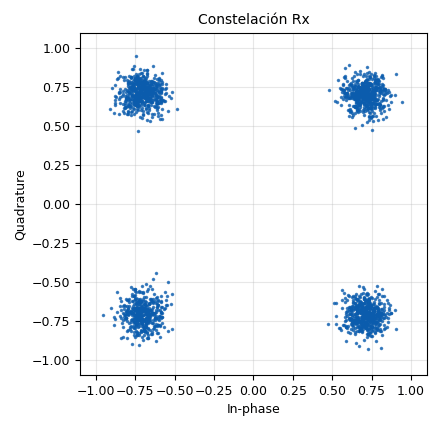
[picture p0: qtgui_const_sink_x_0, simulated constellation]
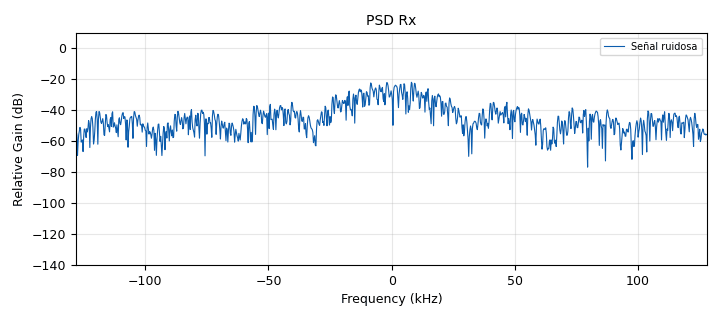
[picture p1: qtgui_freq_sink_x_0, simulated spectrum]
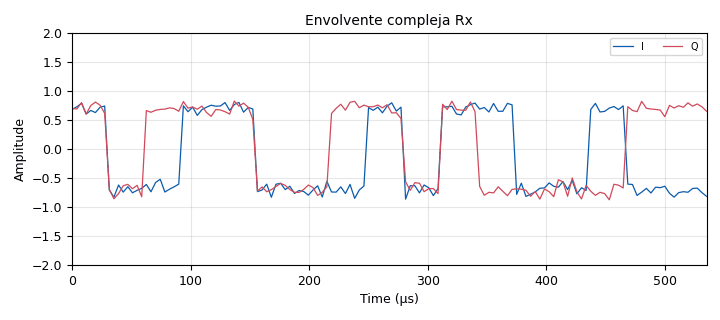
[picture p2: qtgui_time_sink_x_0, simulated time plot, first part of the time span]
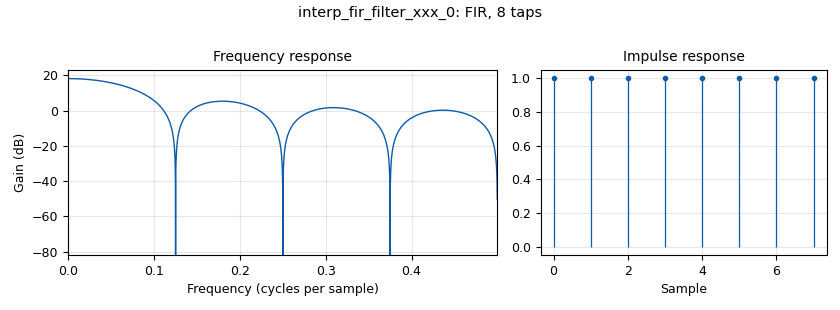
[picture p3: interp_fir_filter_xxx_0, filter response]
options:
  parameters:
    comment: 'Escenario S2: QPSK + AWGN + interferente CW estrecho (Grupo 5)'
    description: 'QPSK con AWGN e interferente CW. Variables: A_int, f_int, noise_amp'
    generate_options: qt_gui
    id: S2_QPSK_CW_interferente
    output_language: python
    title: S2_QPSK_CW_interferente
  states: {}

blocks:
- name: M
  id: variable
  parameters:
    value: len(tabla_de_verdad_constelacion)
  states: {}
- name: Rb
  id: variable
  parameters:
    value: Rs*bps
  states: {}
- name: Rs
  id: variable
  parameters:
    value: '32000'
  states: {}
- name: Sps
  id: variable
  parameters:
    value: '8'
  states: {}
- name: bps
  id: variable
  parameters:
    value: int(math.log(M,2))
  states: {}
- name: h
  id: variable
  parameters:
    value: '[1]*Sps'
  states: {}
- name: noise_amp
  id: variable_qtgui_range
  parameters:
    label: Amplitud de ruido AWGN
    start: '0'
    step: '0.01'
    stop: '0.5'
    value: '0.10'
  states: {}
- name: A_int
  id: variable_qtgui_range
  parameters:
    label: Amplitud del interferente A_int
    start: '0'
    step: '0.05'
    stop: '1.5'
    value: '0'
  states: {}
- name: f_int
  id: variable_qtgui_range
  parameters:
    label: Frecuencia del interferente f_int [Hz]
    start: '-30000'
    step: '500'
    stop: '30000'
    value: '5000'
  states: {}
- name: samp_rate
  id: variable
  parameters:
    value: Rs*Sps
  states: {}
- name: tabla_de_verdad_constelacion
  id: variable
  parameters:
    comment: 'QPSK Gray: 00,01,10,11 -> 4 estados de fase (potencia media = 1)'
    value: (0.7071+0.7071j, 0.7071-0.7071j, -0.7071+0.7071j, -0.7071-0.7071j)
  states: {}
- name: analog_noise_source_x_0
  id: analog_noise_source_x
  parameters:
    amp: noise_amp
    noise_type: analog.GR_GAUSSIAN
    seed: '0'
    type: complex
  states: {}
- name: analog_random_source_x_0
  id: analog_random_source_x
  parameters:
    max: '2'
    min: '0'
    num_samps: '1000'
    repeat: 'True'
    type: byte
  states: {}
- name: analog_sig_source_x_0
  id: analog_sig_source_x
  parameters:
    comment: Interferente CW estrecho (tono complejo) del escenario S2
    amp: A_int
    freq: f_int
    offset: '0'
    phase: '0'
    samp_rate: samp_rate
    type: complex
    waveform: analog.GR_COS_WAVE
  states: {}
- name: blocks_add_xx_0
  id: blocks_add_xx
  parameters:
    comment: 'Entradas: 0=senal, 1=AWGN, 2=interferente CW'
    num_inputs: '3'
    type: complex
  states: {}
- name: blocks_pack_k_bits_bb_0
  id: blocks_pack_k_bits_bb
  parameters:
    k: '8'
  states: {}
- name: blocks_packed_to_unpacked_xx_0
  id: blocks_packed_to_unpacked_xx
  parameters:
    bits_per_chunk: bps
    endianness: gr.GR_MSB_FIRST
    type: byte
  states: {}
- name: digital_chunks_to_symbols_xx_0
  id: digital_chunks_to_symbols_xx
  parameters:
    dimension: '1'
    in_type: byte
    out_type: complex
    symbol_table: tabla_de_verdad_constelacion
  states: {}
- name: import_0
  id: import
  parameters:
    imports: import math
  states: {}
- name: interp_fir_filter_xxx_0
  id: interp_fir_filter_xxx
  parameters:
    interp: Sps
    taps: h
    type: ccf
  states: {}
- name: qtgui_const_sink_x_0
  id: qtgui_const_sink_x
  parameters:
    autoscale: 'True'
    grid: 'True'
    legend: 'False'
    name: '"Constelación Rx"'
    size: '2048'
    type: complex
    label1: '"Señal ruidosa"'
  states: {}
- name: qtgui_freq_sink_x_0
  id: qtgui_freq_sink_x
  parameters:
    bw: samp_rate
    fc: '0'
    fftsize: '1024'
    grid: 'True'
    name: '"PSD Rx"'
    type: complex
    label1: Señal ruidosa
  states: {}
- name: qtgui_time_sink_x_0
  id: qtgui_time_sink_x
  parameters:
    grid: 'True'
    name: '"Envolvente compleja Rx"'
    size: '2048'
    srate: samp_rate
    type: complex
    ymax: '2'
    ymin: '-2'
    label1: I
    label2: Q
  states: {}
- name: throttle_0
  id: blocks_throttle2
  parameters:
    samples_per_second: samp_rate
    type: complex
  states: {}

connections:
- [analog_noise_source_x_0, '0', blocks_add_xx_0, '1']
- [analog_random_source_x_0, '0', blocks_pack_k_bits_bb_0, '0']
- [analog_sig_source_x_0, '0', blocks_add_xx_0, '2']
- [blocks_add_xx_0, '0', qtgui_const_sink_x_0, '0']
- [blocks_add_xx_0, '0', qtgui_freq_sink_x_0, '0']
- [blocks_add_xx_0, '0', qtgui_time_sink_x_0, '0']
- [blocks_pack_k_bits_bb_0, '0', blocks_packed_to_unpacked_xx_0, '0']
- [blocks_packed_to_unpacked_xx_0, '0', digital_chunks_to_symbols_xx_0, '0']
- [digital_chunks_to_symbols_xx_0, '0', interp_fir_filter_xxx_0, '0']
- [interp_fir_filter_xxx_0, '0', throttle_0, '0']
- [throttle_0, '0', blocks_add_xx_0, '0']

metadata:
  file_format: 1
  grc_version: 3.10.12.0
